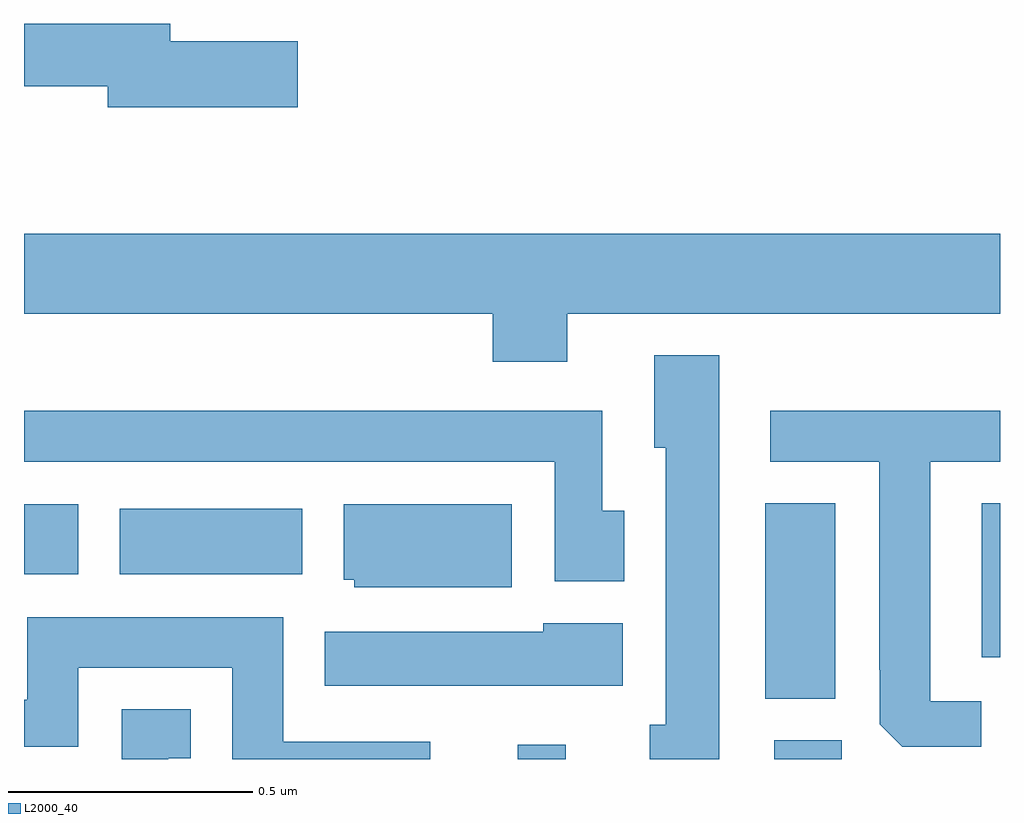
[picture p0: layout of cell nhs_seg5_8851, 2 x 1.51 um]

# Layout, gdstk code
import gdstk
lib = gdstk.Library(unit=1e-6, precision=1e-09)
def R(c, l, rs):  # rectangles x0, y0, x1, y1
    for r in rs: c.add(gdstk.rectangle(r[:2], r[2:], *l))
def P(c, l, *ps):  # polygons
    for p in ps: c.add(gdstk.Polygon(p, *l))
L2000_40 = (2000, 40)

nhs_seg5_8851 = lib.new_cell('nhs_seg5_8851')
R(nhs_seg5_8851, L2000_40, [(227.012,903.799,227.11,903.829), (227.537,903.799,227.676,903.838), (227.519,903.923,227.662,904.324), (227.963,904.008,228,904.324), (226,904.178,226.111,904.321), (226.196,904.178,226.57,904.312)])
P(nhs_seg5_8851, L2000_40, [(226.561,905.27),(226.3,905.27),(226.3,905.306),(226,905.306),(226,905.178),(226.172,905.178),(226.172,905.135),(226.561,905.135)],
  [(227.113,904.712),(228,904.712),(228,904.876),(226,904.876),(226,904.712),(226.961,904.712),(226.961,904.613),(227.113,904.613)],
  [(227.425,904.627),(227.291,904.627),(227.291,904.437),(227.315,904.437),(227.315,903.87),(227.282,903.87),(227.282,903.799),(227.425,903.799)],
  [(227.962,903.918),(227.857,903.918),(227.857,904.409),(228,904.409),(228,904.513),(227.529,904.513),(227.529,904.409),(227.753,904.409),(227.753,903.982),(227.754,903.982),(227.754,903.871),(227.8,903.825),(227.962,903.825)],
  [(227.23,904.308),(227.185,904.308),(227.185,904.513),(226,904.513),(226,904.409),(227.088,904.409),(227.088,904.164),(227.23,904.164)],
  [(226.999,904.321),(226.655,904.321),(226.655,904.167),(226.677,904.167),(226.677,904.151),(226.999,904.151)],
  [(226.832,903.835),(226.531,903.835),(226.531,904.09),(226.007,904.09),(226.007,903.921),(226,903.921),(226,903.825),(226.111,903.825),(226.111,903.986),(226.427,903.986),(226.427,903.799),(226.832,903.799)],
  [(227.227,904.078),(227.064,904.078),(227.064,904.06),(226.616,904.06),(226.616,903.95),(227.227,903.95)],
  [(226.296,903.801),(226.342,903.801),(226.342,903.901),(226.2,903.901),(226.2,903.799),(226.296,903.799)])

lib.write_gds('nhs_seg5_8851.gds')
